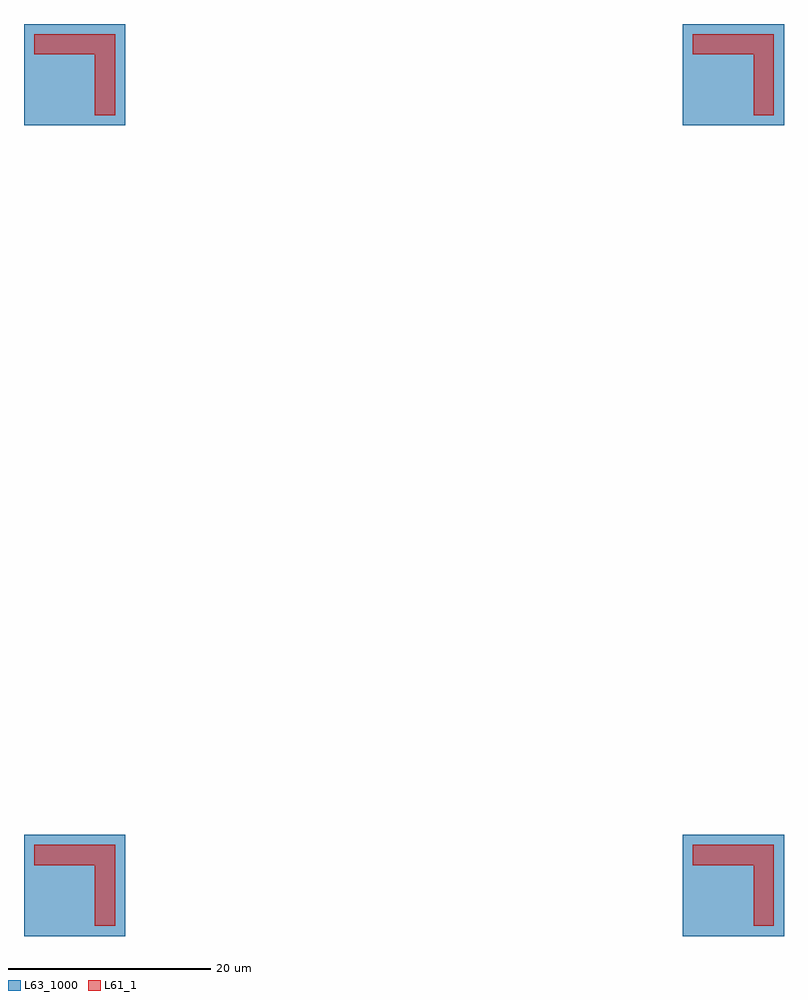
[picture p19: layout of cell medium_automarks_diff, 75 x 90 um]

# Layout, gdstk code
import gdstk
lib = gdstk.Library(unit=1e-6, precision=1e-09)
def R(c, l, rs):  # rectangles x0, y0, x1, y1
    for r in rs: c.add(gdstk.rectangle(r[:2], r[2:], *l))
L61_1 = (61, 1)
L63_1000 = (63, 1000)

medium_automarks_diff = lib.new_cell('medium_automarks_diff')
R(medium_automarks_diff, L63_1000, [(-30,-45,-20,-35), (35,-45,45,-35), (-30,35,-20,45), (35,35,45,45)])
medium_automarks_diff.add(gdstk.FlexPath([(-22,-44),(-22,-36)], 2, ends="flush", simple_path=True, layer=61, datatype=1))  # L61_1
medium_automarks_diff.add(gdstk.FlexPath([(-29,-37),(-21,-37)], 2, ends="flush", simple_path=True, layer=61, datatype=1))  # L61_1
medium_automarks_diff.add(gdstk.FlexPath([(43,-44),(43,-36)], 2, ends="flush", simple_path=True, layer=61, datatype=1))  # L61_1
medium_automarks_diff.add(gdstk.FlexPath([(36,-37),(44,-37)], 2, ends="flush", simple_path=True, layer=61, datatype=1))  # L61_1
medium_automarks_diff.add(gdstk.FlexPath([(43,36),(43,44)], 2, ends="flush", simple_path=True, layer=61, datatype=1))  # L61_1
medium_automarks_diff.add(gdstk.FlexPath([(36,43),(44,43)], 2, ends="flush", simple_path=True, layer=61, datatype=1))  # L61_1
medium_automarks_diff.add(gdstk.FlexPath([(-22,36),(-22,44)], 2, ends="flush", simple_path=True, layer=61, datatype=1))  # L61_1
medium_automarks_diff.add(gdstk.FlexPath([(-29,43),(-21,43)], 2, ends="flush", simple_path=True, layer=61, datatype=1))  # L61_1

lib.write_gds('medium_automarks_diff.gds')
